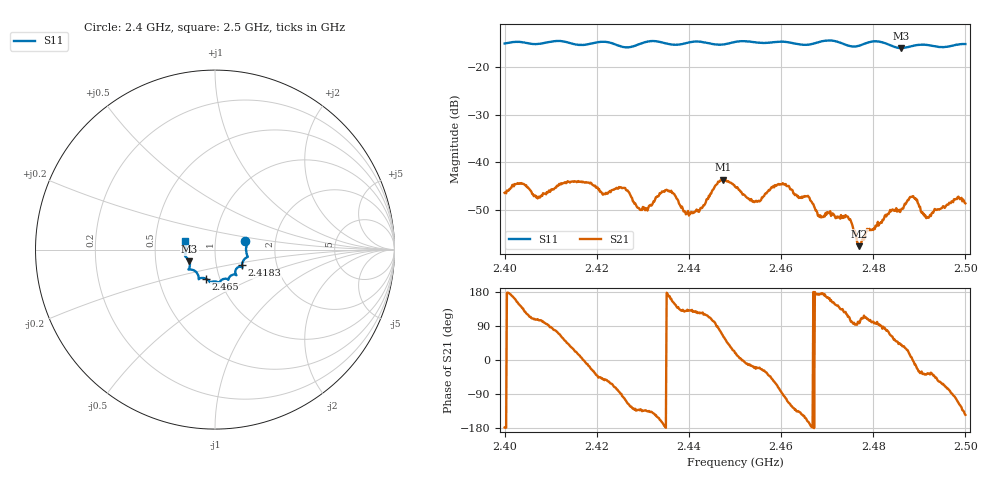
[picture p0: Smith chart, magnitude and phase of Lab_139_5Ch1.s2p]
# Hz S RI R 50
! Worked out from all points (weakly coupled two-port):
!   601 points, 2.4 GHz to 2.5 GHz, reference 50 ohm
!   highest |S21| = -43.59 dB at 2.4475 GHz (marker M1); lowest = -57.5 dB at 2.477 GHz (marker M2)
!   lowest |S11| = -16.1 dB at 2.486 GHz (marker M3), VSWR 1.37, Z = 37.2 - j4.98 ohm
!   |S11| at or under -10 dB: start of sweep to end of sweep
!   S12 and S22 are empty: the file has one direction only
!   S11 on the Smith chart (normalised r, x): 2.4 GHz: 1.40, +0.14; 2.4183 GHz: 1.33, -0.24; 2.465 GHz: 0.86, -0.29; 2.5 GHz: 0.71, +0.07
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2.4e9  0.1688 0.0472  -0.00481 -0.000154  0 0  0 0
2.416667e9  0.1546 -0.0681  0.00629 0.000688  0 0  0 0
2.418333e9  0.1501 -0.0869  0.0059 -0.00172  0 0  0 0
2.426167e9  0.124 -0.1011  -0.00138 -0.00523  0 0  0 0
2.429333e9  0.1128 -0.1318  -0.00219 -0.00236  0 0  0 0
2.433333e9  0.1175 -0.141  -0.00391 -0.00205  0 0  0 0
2.436167e9  0.0984 -0.1402  -0.00479 0.00164  0 0  0 0
2.4405e9  0.0755 -0.1656  -0.00201 0.00228  0 0  0 0
2.4475e9  0.0402 -0.1668  0.00318 0.0058  0 0  0 0
2.45e9  0.0262 -0.1802  0.00529 0.00177  0 0  0 0
2.454333e9  0.0123 -0.1801  0.00368 -0.00124  0 0  0 0
2.46e9  -0.0265 -0.1814  0.000677 -0.00587  0 0  0 0
2.465e9  -0.0524 -0.1616  -0.0037 -0.00235  0 0  0 0
2.466667e9  -0.0713 -0.1576  -0.00385 -0.000239  0 0  0 0
2.4685e9  -0.0867 -0.1613  -0.00278 0.000289  0 0  0 0
2.4745e9  -0.0974 -0.1359  -0.0011 0.00248  0 0  0 0
2.477e9  -0.1216 -0.1139  -0.000167 0.00132  0 0  0 0
2.483333e9  -0.1412 -0.0965  0.000805 0.00277  0 0  0 0
2.486e9  -0.1428 -0.0652  0.00244 0.00203  0 0  0 0
2.488333e9  -0.1586 -0.0444  0.00435 0.000533  0 0  0 0
2.491667e9  -0.1666 -0.0307  0.00217 -0.00158  0 0  0 0
2.5e9  -0.1666 0.0468  -0.00305 -0.00215  0 0  0 0
